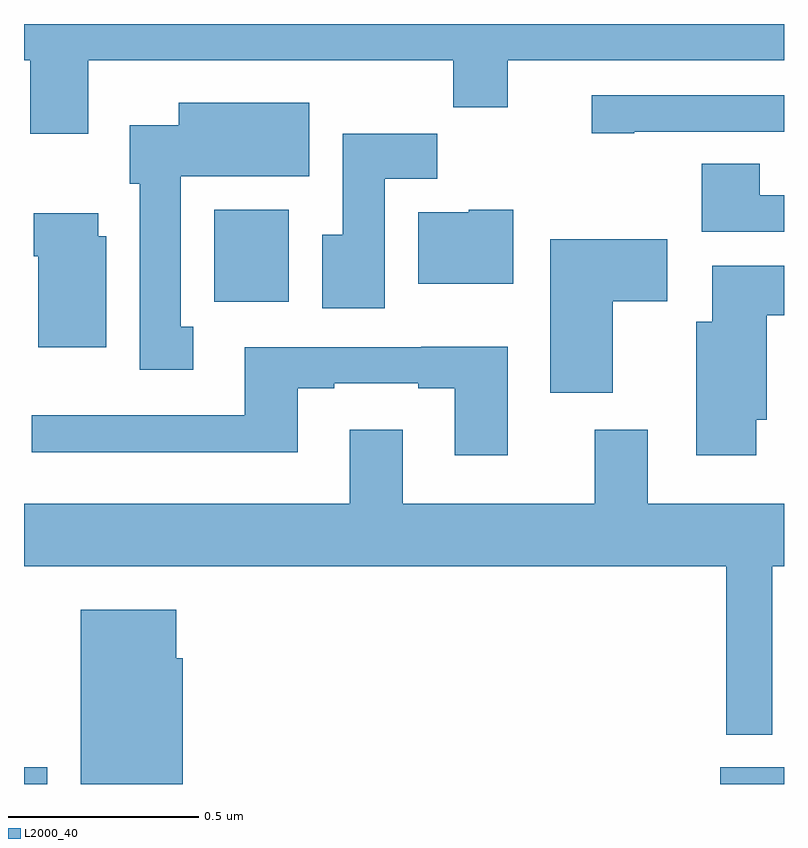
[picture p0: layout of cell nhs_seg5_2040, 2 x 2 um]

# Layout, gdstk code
import gdstk
lib = gdstk.Library(unit=1e-6, precision=1e-09)
def R(c, l, rs):  # rectangles x0, y0, x1, y1
    for r in rs: c.add(gdstk.rectangle(r[:2], r[2:], *l))
def P(c, l, *ps):  # polygons
    for p in ps: c.add(gdstk.Polygon(p, *l))
L2000_40 = (2000, 40)

nhs_seg5_2040 = lib.new_cell('nhs_seg5_2040')
R(nhs_seg5_2040, L2000_40, [(138,910.799,138.061,910.843), (139.832,910.799,140,910.843), (138.5,912.068,138.697,912.31)])
P(nhs_seg5_2040, L2000_40, [(138.169,912.704),(139.129,912.704),(139.129,912.58),(139.273,912.58),(139.273,912.704),(140,912.704),(140,912.799),(138,912.799),(138,912.704),(138.017,912.704),(138.017,912.51),(138.169,912.51)],
  [(139.606,912.516),(140,912.516),(140,912.612),(139.494,912.612),(139.494,912.511),(139.606,912.511)],
  [(138.445,912.002),(138.412,912.002),(138.412,912.398),(138.751,912.398),(138.751,912.592),(138.407,912.592),(138.407,912.532),(138.278,912.532),(138.278,912.378),(138.305,912.378),(138.305,911.889),(138.445,911.889)],
  [(138.949,912.392),(139.088,912.392),(139.088,912.51),(138.839,912.51),(138.839,912.244),(138.785,912.244),(138.785,912.051),(138.949,912.051)],
  [(140,912.348),(139.936,912.348),(139.936,912.431),(139.784,912.431),(139.784,912.252),(140,912.252)],
  [(139.288,912.31),(139.17,912.31),(139.17,912.304),(139.037,912.304),(139.037,912.116),(139.288,912.116)],
  [(138.217,912.24),(138.196,912.24),(138.196,912.301),(138.026,912.301),(138.026,912.188),(138.038,912.188),(138.038,911.948),(138.217,911.948)],
  [(139.549,912.07),(139.693,912.07),(139.693,912.232),(139.385,912.232),(139.385,911.829),(139.549,911.829)],
  [(139.927,911.757),(139.954,911.757),(139.954,912.032),(140,912.032),(140,912.163),(139.811,912.163),(139.811,912.016),(139.769,912.016),(139.769,911.664),(139.927,911.664)],
  [(139.273,911.95),(139.045,911.95),(139.045,911.949),(138.581,911.949),(138.581,911.769),(138.021,911.769),(138.021,911.672),(138.721,911.672),(138.721,911.841),(138.817,911.841),(138.817,911.853),(139.037,911.853),(139.037,911.841),(139.133,911.841),(139.133,911.664),(139.273,911.664)],
  [(139.969,911.372),(140,911.372),(140,911.536),(139.642,911.536),(139.642,911.731),(139.502,911.731),(139.502,911.536),(138.997,911.536),(138.997,911.731),(138.857,911.731),(138.857,911.536),(138,911.536),(138,911.372),(139.848,911.372),(139.848,910.928),(139.969,910.928)],
  [(138.418,911.13),(138.4,911.13),(138.4,911.257),(138.149,911.257),(138.149,910.799),(138.418,910.799)])

lib.write_gds('nhs_seg5_2040.gds')
